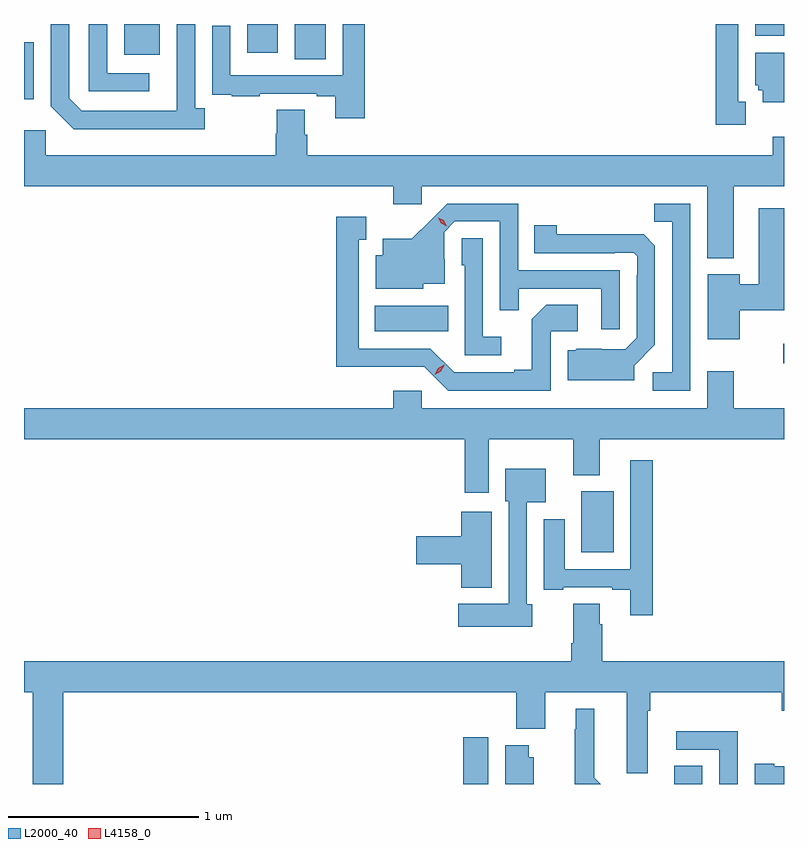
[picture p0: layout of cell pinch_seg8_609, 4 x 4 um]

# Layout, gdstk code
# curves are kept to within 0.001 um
import gdstk
lib = gdstk.Library(unit=1e-6, precision=1e-09)
def R(c, l, rs):  # rectangles x0, y0, x1, y1
    for r in rs: c.add(gdstk.rectangle(r[:2], r[2:], *l))
def P(c, l, *ps):  # polygons
    for p in ps: c.add(gdstk.Polygon(p, *l))
L2000_40 = (2000, 40)
L4158_0 = (4158, 0)

pinch_seg8_609 = lib.new_cell('pinch_seg8_609')
R(pinch_seg8_609, L2000_40, [(196.664,1084.05,196.795,1084.297), (197.774,1084.05,197.923,1084.145), (197.285,1085.27,197.455,1085.59), (198.348,1086.265,198.352,1086.366), (196.199,1086.434,196.586,1086.568), (194.352,1087.654,194.404,1087.954), (195.776,1087.864,195.94,1088.05), (194.879,1087.889,195.067,1088.05), (195.527,1087.899,195.688,1088.05), (198.2,1087.988,198.352,1088.05)])
P(pinch_seg8_609, L2000_40, [(195.01,1087.791),(194.79,1087.791),(194.79,1088.05),(194.694,1088.05),(194.694,1087.695),(195.01,1087.695)],
  [(195.304,1087.606),(195.252,1087.606),(195.252,1088.05),(195.156,1088.05),(195.155,1087.593),(194.655,1087.593),(194.589,1087.659),(194.589,1088.05),(194.493,1088.05),(194.493,1087.617),(194.614,1087.496),(195.304,1087.496)],
  [(198.151,1087.641),(198.112,1087.641),(198.112,1088.05),(197.994,1088.05),(197.994,1087.521),(198.151,1087.521)],
  [(196.145,1088.05),(196.029,1088.05),(196.029,1087.779),(195.438,1087.779),(195.438,1088.041),(195.342,1088.041),(195.342,1087.786),(195.343,1087.786),(195.343,1087.677),(195.445,1087.677),(195.445,1087.671),(195.593,1087.671),(195.593,1087.683),(195.893,1087.683),(195.893,1087.671),(195.989,1087.671),(195.989,1087.554),(196.145,1087.554)],
  [(198.352,1087.9),(198.2,1087.9),(198.2,1087.728),(198.216,1087.728),(198.216,1087.701),(198.239,1087.701),(198.239,1087.637),(198.352,1087.637)],
  [(198.088,1087.196),(198.352,1087.196),(198.352,1087.456),(198.293,1087.456),(198.293,1087.36),(195.842,1087.36),(195.842,1087.466),(195.829,1087.466),(195.829,1087.598),(195.682,1087.598),(195.682,1087.473),(195.677,1087.473),(195.677,1087.36),(194.466,1087.36),(194.466,1087.492),(194.352,1087.492),(194.352,1087.196),(196.295,1087.196),(196.295,1087.101),(196.446,1087.101),(196.446,1087.196),(197.948,1087.196),(197.948,1086.818),(198.088,1086.818)],
  [(197.859,1087.104),(197.668,1087.104),(197.668,1087.009),(197.763,1087.009),(197.763,1086.216),(197.661,1086.216),(197.661,1086.12),(197.859,1086.12)],
  [(197.487,1086.753),(196.953,1086.753),(196.953,1087.104),(196.58,1087.104),(196.393,1086.919),(196.241,1086.919),(196.241,1086.832),(196.202,1086.832),(196.202,1086.656),(196.452,1086.656),(196.452,1086.683),(196.567,1086.683),(196.567,1086.812),(196.563,1086.812),(196.563,1086.954),(196.62,1087.011),(196.857,1087.011),(196.857,1086.544),(196.955,1086.544),(196.955,1086.657),(197.391,1086.657),(197.391,1086.444),(197.487,1086.444)],
  [(198.118,1086.544),(198.352,1086.544),(198.352,1087.081),(198.218,1087.081),(198.218,1086.68),(198.118,1086.68),(198.118,1086.733),(197.951,1086.733),(197.951,1086.39),(198.118,1086.39)],
  [(197.124,1086.432),(197.266,1086.432),(197.266,1086.572),(197.101,1086.572),(197.025,1086.496),(197.025,1086.229),(196.931,1086.229),(196.931,1086.216),(196.617,1086.216),(196.491,1086.342),(196.114,1086.342),(196.114,1086.915),(196.153,1086.915),(196.153,1087.036),(195.996,1087.036),(195.996,1086.245),(196.458,1086.246),(196.584,1086.12),(197.124,1086.12)],
  [(197.563,1086.252),(197.673,1086.362),(197.673,1086.884),(197.614,1086.943),(197.157,1086.944),(197.157,1086.991),(197.038,1086.991),(197.038,1086.843),(197.462,1086.843),(197.462,1086.846),(197.562,1086.846),(197.58,1086.828),(197.58,1086.728),(197.577,1086.728),(197.577,1086.399),(197.517,1086.339),(197.26,1086.34),(197.254,1086.334),(197.213,1086.334),(197.213,1086.176),(197.563,1086.176)],
  [(196.864,1086.403),(196.767,1086.403),(196.767,1086.923),(196.656,1086.923),(196.656,1086.78),(196.671,1086.78),(196.671,1086.306),(196.864,1086.306)],
  [(196.798,1085.864),(197.243,1085.864),(197.243,1085.675),(197.383,1085.675),(197.383,1085.864),(198.352,1085.864),(198.352,1086.028),(198.088,1086.028),(198.088,1086.223),(197.948,1086.223),(197.948,1086.028),(196.446,1086.028),(196.446,1086.121),(196.295,1086.121),(196.295,1086.028),(194.352,1086.028),(194.352,1085.864),(196.673,1085.864),(196.673,1085.583),(196.798,1085.583)],
  [(197.66,1085.755),(197.544,1085.755),(197.544,1085.181),(197.197,1085.181),(197.197,1085.443),(197.087,1085.443),(197.087,1085.073),(197.191,1085.073),(197.191,1085.085),(197.447,1085.085),(197.447,1085.073),(197.543,1085.073),(197.543,1084.938),(197.66,1084.938)],
  [(197.026,1084.995),(196.998,1084.995),(196.998,1085.534),(197.098,1085.534),(197.098,1085.71),(196.886,1085.71),(196.886,1085.538),(196.902,1085.538),(196.902,1084.999),(196.638,1084.999),(196.638,1084.877),(197.026,1084.877)],
  [(196.813,1085.482),(196.652,1085.482),(196.652,1085.354),(196.416,1085.354),(196.416,1085.207),(196.652,1085.207),(196.652,1085.084),(196.813,1085.084)],
  [(194.352,1084.532),(194.398,1084.532),(194.398,1084.05),(194.558,1084.05),(194.558,1084.532),(196.943,1084.532),(196.943,1084.34),(197.095,1084.34),(197.095,1084.532),(197.525,1084.532),(197.525,1084.107),(197.635,1084.107),(197.635,1084.436),(197.648,1084.436),(197.648,1084.532),(198.341,1084.532),(198.341,1084.436),(198.352,1084.436),(198.352,1084.696),(197.396,1084.696),(197.396,1084.892),(197.383,1084.892),(197.383,1085),(197.243,1085),(197.243,1084.792),(197.231,1084.792),(197.231,1084.696),(194.352,1084.696)],
  [(197.353,1084.084),(197.353,1084.447),(197.255,1084.447),(197.255,1084.337),(197.251,1084.337),(197.251,1084.05),(197.387,1084.05)],
  [(198.108,1084.328),(197.784,1084.328),(197.784,1084.23),(198.012,1084.23),(198.012,1084.05),(198.108,1084.05)],
  [(197.035,1084.191),(197.008,1084.191),(197.008,1084.255),(196.886,1084.255),(196.886,1084.05),(197.035,1084.05)],
  [(198.352,1084.143),(198.301,1084.143),(198.301,1084.156),(198.197,1084.156),(198.197,1084.05),(198.352,1084.05)])
P(pinch_seg8_609, L4158_0, [(196.578,1086.986),(196.548,1087.001),(196.531,1087.031),(196.531,1087.031),(196.531,1087.031),(196.561,1087.016),(196.578,1086.986),(196.578,1086.986)],
  [(196.514,1086.205),(196.514,1086.205),(196.532,1086.237),(196.563,1086.256),(196.563,1086.256),(196.563,1086.255),(196.546,1086.223),(196.515,1086.205)])

lib.write_gds('pinch_seg8_609.gds')
